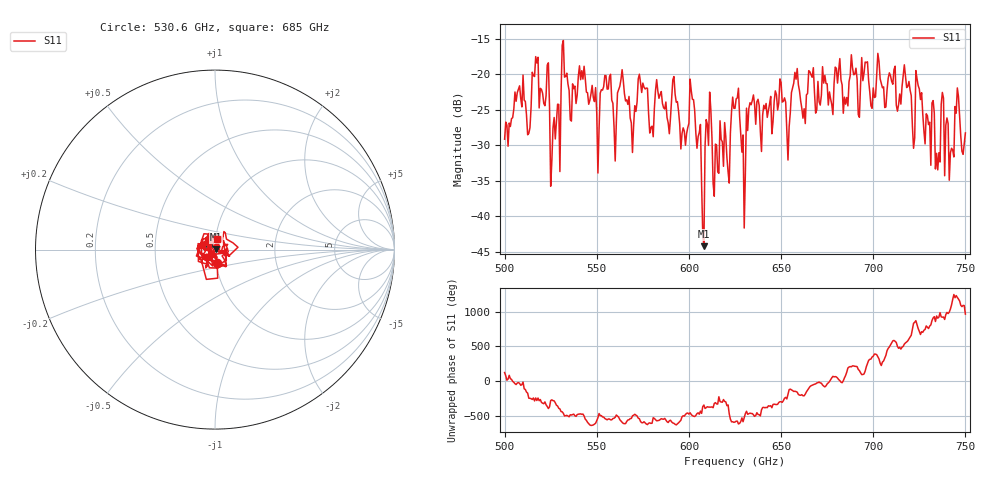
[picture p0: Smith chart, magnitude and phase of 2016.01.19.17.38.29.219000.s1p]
!Created with skrf (http://scikit-rf.org).
# GHz S RI R 50.0
!freq ReS11 ImS11
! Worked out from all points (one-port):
!   401 points, 500 GHz to 750 GHz, reference 50 ohm
!   lowest |S11| = -44.2 dB at 608.1 GHz (marker M1), VSWR 1.01, Z = 50.6 + j0.146 ohm
!   |S11| at or under -10 dB: start of sweep to end of sweep
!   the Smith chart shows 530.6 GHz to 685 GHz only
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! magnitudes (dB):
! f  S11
! 500 GHz  -29.1
! 513.1 GHz  -28.3
! 516.9 GHz  -17.5
! 526.2 GHz  -27.6
! 531.2 GHz  -15.9
! 550 GHz  -25.5
! 556.2 GHz  -22.1
! 559.4 GHz  -27.4
! 562.5 GHz  -21.7
! 569.4 GHz  -31.0
! 573.8 GHz  -21.2
! 579.4 GHz  -27.5
! 593.8 GHz  -23.9
! 601.9 GHz  -23.5
! 608.1 GHz  -44.2
! 610.6 GHz  -30.0
! 614.4 GHz  -29.8
! 625 GHz  -24.8
! 629.4 GHz  -28.5
! 633.8 GHz  -24.3
! 656.2 GHz  -21.9
! 687.5 GHz  -20.2
! 718.8 GHz  -21.7
! 735 GHz  -33.5
! 738.1 GHz  -23.4
! 742.5 GHz  -30.4
! 745.6 GHz  -21.9
! 750 GHz  -28.3
